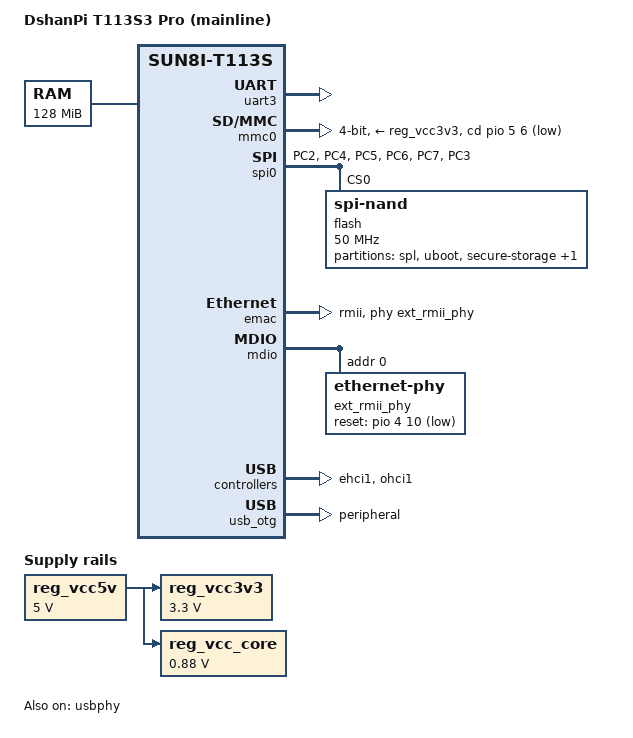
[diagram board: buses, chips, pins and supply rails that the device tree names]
// SPDX-License-Identifier: (GPL-2.0+ OR MIT)
/*
 * Mainline Linux device tree for the DshanPi T113S3 Pro SPI-NAND board.
 *
 * Hardware facts are derived from the known-good Tina evb1_auto_nand
 * configuration.  Keep this file limited to bindings accepted upstream.
 */

/dts-v1/;

#include <dt-bindings/gpio/gpio.h>
#include "sun8i-t113s.dtsi"

/ {
	model = "DshanPi T113S3 Pro (mainline)";
	compatible = "dshanpi,t113s3pro", "allwinner,sun8i-t113s";

	aliases {
		ethernet0 = &emac;
		serial3 = &uart3;
	};

	chosen {
		stdout-path = "serial3:115200n8";
		bootargs = "earlycon=uart8250,mmio32,0x02500c00 console=ttyS3,115200 ignore_loglevel loglevel=8 ubi.mtd=sys root=ubi0:rootfs rootfstype=ubifs rw rootwait";
	};

	memory@40000000 {
		device_type = "memory";
		reg = <0x40000000 0x08000000>;
	};

	reg_vcc5v: regulator-5v {
		compatible = "regulator-fixed";
		regulator-name = "vcc-5v";
		regulator-min-microvolt = <5000000>;
		regulator-max-microvolt = <5000000>;
		regulator-always-on;
	};

	reg_vcc3v3: regulator-3v3 {
		compatible = "regulator-fixed";
		regulator-name = "vcc-3v3";
		regulator-min-microvolt = <3300000>;
		regulator-max-microvolt = <3300000>;
		vin-supply = <&reg_vcc5v>;
		regulator-always-on;
	};

	reg_vcc_core: regulator-core {
		compatible = "regulator-fixed";
		regulator-name = "vcc-core";
		regulator-min-microvolt = <880000>;
		regulator-max-microvolt = <880000>;
		vin-supply = <&reg_vcc5v>;
		regulator-always-on;
	};
};

&cpu0 {
	cpu-supply = <&reg_vcc_core>;
};

&cpu1 {
	cpu-supply = <&reg_vcc_core>;
};

&dcxo {
	clock-frequency = <24000000>;
};

&pio {
	vcc-pb-supply = <&reg_vcc3v3>;
	vcc-pc-supply = <&reg_vcc3v3>;
	vcc-pe-supply = <&reg_vcc3v3>;
	vcc-pf-supply = <&reg_vcc3v3>;

	spi0_quad_pins: spi0-quad-pins {
		pins = "PC2", "PC4", "PC5", "PC6", "PC7";
		function = "spi0";
		drive-strength = <10>;
	};

	spi0_cs_pin: spi0-cs-pins {
		pins = "PC3";
		function = "spi0";
		drive-strength = <10>;
		bias-pull-up;
	};
};

&uart3 {
	pinctrl-names = "default";
	pinctrl-0 = <&uart3_pb_pins>;
	status = "okay";
};

&mmc0 {
	pinctrl-names = "default";
	pinctrl-0 = <&mmc0_pins>;
	vmmc-supply = <&reg_vcc3v3>;
	cd-gpios = <&pio 5 6 GPIO_ACTIVE_LOW>; /* PF6 */
	disable-wp;
	bus-width = <4>;
	status = "okay";
};

&spi0 {
	pinctrl-names = "default";
	pinctrl-0 = <&spi0_quad_pins>, <&spi0_cs_pin>;
	status = "okay";

	flash@0 {
		compatible = "spi-nand";
		reg = <0>;
		spi-max-frequency = <50000000>;
		spi-rx-bus-width = <4>;
		spi-tx-bus-width = <4>;
		partitions {
			compatible = "fixed-partitions";
			#address-cells = <1>;
			#size-cells = <1>;

			partition@0 {
				label = "spl";
				reg = <0x00000000 0x00100000>;
			};

			partition@100000 {
				label = "uboot";
				reg = <0x00100000 0x00300000>;
			};

			partition@400000 {
				label = "secure-storage";
				reg = <0x00400000 0x00100000>;
				read-only;
			};

			partition@500000 {
				label = "sys";
				reg = <0x00500000 0x0fb00000>;
			};
		};
	};
};

&emac {
	pinctrl-names = "default";
	pinctrl-0 = <&rmii_pe_pins>;
	phy-handle = <&ext_rmii_phy>;
	phy-mode = "rmii";
	allwinner,tx-delay-ps = <300>;
	allwinner,rx-delay-ps = <0>;
	status = "okay";
};

&mdio {
	ext_rmii_phy: ethernet-phy@0 {
		reg = <0>;
		reset-gpios = <&pio 4 10 GPIO_ACTIVE_LOW>; /* PE10 */
		reset-assert-us = <10000>;
		reset-deassert-us = <100000>;
	};
};

&ehci1 {
	status = "okay";
};

&ohci1 {
	status = "okay";
};

&usb_otg {
	dr_mode = "peripheral";
	status = "okay";
};

&usbphy {
	usb1_vbus-supply = <&reg_vcc5v>;
	status = "okay";
};
